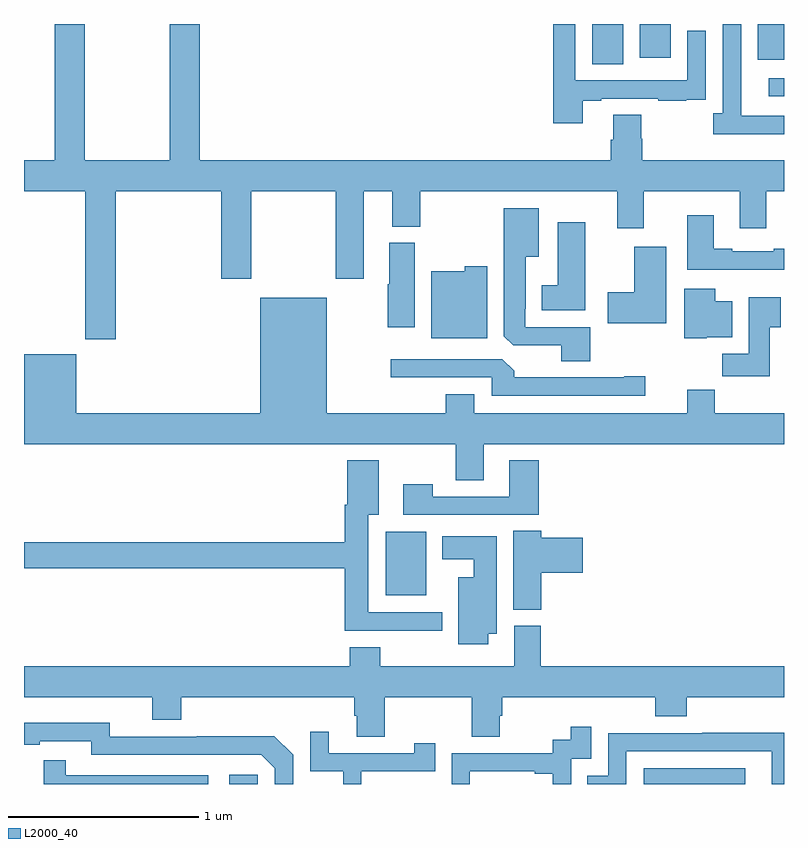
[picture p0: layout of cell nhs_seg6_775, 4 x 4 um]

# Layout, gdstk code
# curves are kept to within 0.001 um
import gdstk
lib = gdstk.Library(unit=1e-6, precision=1e-09)
def R(c, l, rs):  # rectangles x0, y0, x1, y1
    for r in rs: c.add(gdstk.rectangle(r[:2], r[2:], *l))
def P(c, l, *ps):  # polygons
    for p in ps: c.add(gdstk.Polygon(p, *l))
L2000_40 = (2000, 40)

nhs_seg6_775 = lib.new_cell('nhs_seg6_775')
R(nhs_seg6_775, L2000_40, [(160.08,993.5,160.23,993.55), (162.261,993.5,162.796,993.582), (160.904,994.493,161.116,994.828), (162.921,997.119,163,997.215), (161.99,997.288,162.154,997.5), (162.863,997.313,163,997.5), (162.242,997.323,162.403,997.5)])
P(nhs_seg6_775, L2000_40, [(159.482,996.62),(160.037,996.62),(160.037,996.159),(160.197,996.159),(160.197,996.62),(160.642,996.62),(160.642,996.159),(160.789,996.159),(160.789,996.62),(160.937,996.62),(160.937,996.433),(161.085,996.433),(161.085,996.62),(162.122,996.62),(162.122,996.426),(162.262,996.426),(162.262,996.62),(162.767,996.62),(162.767,996.426),(162.907,996.426),(162.907,996.62),(163,996.62),(163,996.784),(162.254,996.784),(162.254,996.897),(162.249,996.897),(162.249,997.022),(162.101,997.022),(162.101,996.89),(162.089,996.89),(162.089,996.784),(159.926,996.784),(159.926,997.5),(159.766,997.5),(159.766,996.784),(159.321,996.784),(159.321,997.5),(159.161,997.5),(159.161,996.784),(159,996.784),(159,996.62),(159.322,996.62),(159.322,995.841),(159.482,995.841)],
  [(161.941,997.095),(162.037,997.095),(162.037,997.107),(162.337,997.107),(162.337,997.095),(162.485,997.095),(162.485,997.101),(162.587,997.101),(162.587,997.21),(162.588,997.21),(162.588,997.465),(162.492,997.465),(162.492,997.203),(161.901,997.203),(161.901,997.5),(161.785,997.5),(161.785,996.978),(161.941,996.978)],
  [(163,997.017),(162.775,997.017),(162.775,997.217),(162.774,997.217),(162.774,997.5),(162.678,997.5),(162.678,997.03),(162.627,997.03),(162.627,996.92),(163,996.92)],
  [(161.981,995.904),(161.637,995.904),(161.637,996.001),(161.641,996.001),(161.641,996.275),(161.71,996.275),(161.71,996.529),(161.525,996.529),(161.525,995.857),(161.574,995.808),(161.828,995.808),(161.828,995.725),(161.981,995.725)],
  [(163,996.316),(162.947,996.316),(162.947,996.303),(162.727,996.303),(162.727,996.316),(162.631,996.316),(162.631,996.493),(162.491,996.493),(162.491,996.206),(163,996.206)],
  [(161.953,996.457),(161.81,996.457),(161.81,996.124),(161.726,996.124),(161.726,995.993),(161.953,995.993)],
  [(161.056,996.348),(160.922,996.348),(160.922,996.129),(160.915,996.129),(160.915,995.904),(161.056,995.904)],
  [(162.379,996.328),(162.212,996.328),(162.212,996.087),(162.072,996.087),(162.072,995.924),(162.379,995.924)],
  [(161.437,996.226),(161.319,996.226),(161.319,996.199),(161.144,996.199),(161.144,995.846),(161.437,995.846)],
  [(162.594,995.852),(162.727,995.852),(162.727,996.04),(162.637,996.04),(162.637,996.106),(162.476,996.106),(162.476,995.846),(162.594,995.846)],
  [(162.925,995.905),(162.982,995.905),(162.982,996.061),(162.815,996.061),(162.815,995.764),(162.676,995.764),(162.676,995.646),(162.925,995.646)],
  [(161.419,995.288),(163,995.288),(163,995.452),(162.635,995.452),(162.635,995.576),(162.491,995.576),(162.491,995.452),(161.371,995.452),(161.371,995.551),(161.219,995.551),(161.219,995.452),(160.594,995.452),(160.594,996.058),(160.244,996.058),(160.244,995.452),(159.274,995.452),(159.274,995.761),(159,995.761),(159,995.288),(161.272,995.288),(161.272,995.098),(161.419,995.098)],
  [(162.271,995.645),(162.158,995.645),(162.158,995.64),(161.579,995.64),(161.579,995.674),(161.517,995.736),(160.929,995.736),(160.929,995.64),(161.463,995.64),(161.463,995.544),(162.271,995.544)],
  [(161.708,995.203),(161.555,995.203),(161.555,995.013),(161.151,995.013),(161.151,995.077),(160.995,995.077),(160.995,994.917),(161.708,994.917)],
  [(161.2,994.404),(160.813,994.404),(160.813,994.916),(160.867,994.916),(160.867,995.203),(160.7,995.203),(160.7,994.97),(160.688,994.97),(160.688,994.772),(159,994.772),(159,994.636),(160.688,994.636),(160.688,994.307),(161.2,994.307)],
  [(161.723,994.613),(161.941,994.613),(161.941,994.796),(161.723,994.796),(161.723,994.832),(161.576,994.832),(161.576,994.417),(161.723,994.417)],
  [(161.443,994.292),(161.488,994.292),(161.488,994.804),(161.201,994.804),(161.201,994.682),(161.366,994.682),(161.366,994.588),(161.285,994.588),(161.285,994.236),(161.443,994.236)],
  [(160.899,993.956),(161.356,993.956),(161.356,993.748),(161.503,993.748),(161.503,993.858),(161.516,993.858),(161.516,993.956),(162.323,993.956),(162.323,993.857),(162.488,993.857),(162.488,993.956),(163,993.956),(163,994.12),(161.72,994.12),(161.72,994.332),(161.579,994.332),(161.579,994.12),(160.875,994.12),(160.875,994.219),(160.715,994.219),(160.715,994.12),(159,994.12),(159,993.956),(159.674,993.956),(159.674,993.839),(159.827,993.839),(159.827,993.956),(160.739,993.956),(160.739,993.858),(160.751,993.858),(160.751,993.748),(160.899,993.748)],
  [(160.416,993.654),(160.318,993.752),(159.91,993.752),(159.91,993.75),(159.45,993.75),(159.45,993.823),(159,993.822),(159,993.706),(159.082,993.706),(159.082,993.726),(159.354,993.726),(159.354,993.654),(160.248,993.654),(160.32,993.582),(160.32,993.5),(160.416,993.5)],
  [(161.346,993.567),(161.687,993.567),(161.687,993.555),(161.783,993.555),(161.783,993.5),(161.88,993.5),(161.88,993.633),(161.985,993.633),(161.985,993.802),(161.877,993.802),(161.877,993.732),(161.784,993.732),(161.784,993.663),(161.25,993.663),(161.25,993.5),(161.346,993.5)],
  [(160.776,993.567),(161.165,993.567),(161.165,993.715),(161.054,993.715),(161.054,993.663),(160.603,993.663),(160.603,993.775),(160.506,993.775),(160.506,993.567),(160.68,993.567),(160.68,993.5),(160.776,993.5)],
  [(162.171,993.672),(162.935,993.672),(162.935,993.5),(163,993.5),(163,993.77),(162.571,993.77),(162.571,993.768),(162.075,993.768),(162.075,993.543),(161.965,993.543),(161.965,993.5),(162.171,993.5)],
  [(159.97,993.546),(159.221,993.546),(159.221,993.625),(159.104,993.625),(159.104,993.5),(159.97,993.5)])

lib.write_gds('nhs_seg6_775.gds')
